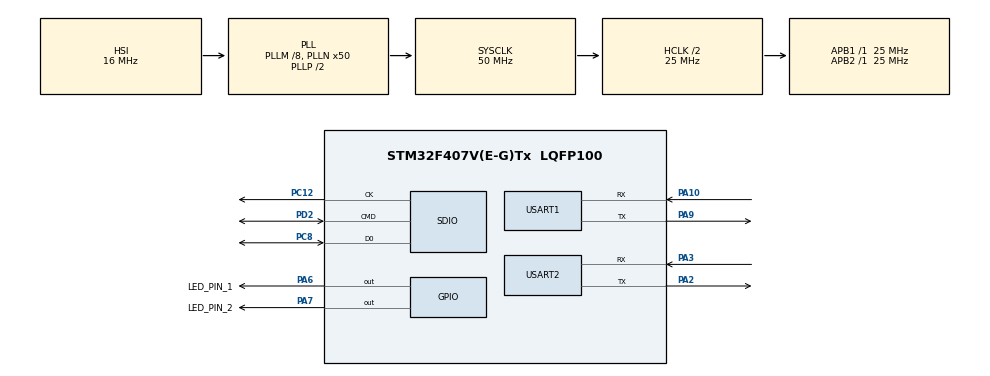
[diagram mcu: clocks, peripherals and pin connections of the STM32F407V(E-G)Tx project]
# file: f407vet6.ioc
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FATFS._MAX_SS=4096
FATFS._USE_LFN=1
Mcu.Family=STM32F4
Mcu.Name=STM32F407V(E-G)Tx
Mcu.Package=LQFP100
NVIC.PriorityGroup=NVIC_PRIORITYGROUP_4
NVIC.SDIO_IRQn=true\:0\:0\:false\:false\:true\:true\:true\:true
NVIC.TIM2_IRQn=true\:0\:0\:false\:false\:true\:true\:true\:true
NVIC.USART2_IRQn=true\:0\:0\:false\:false\:true\:true\:true\:true
PA10.Mode=Asynchronous
PA10.Signal=USART1_RX
PA2.Mode=Asynchronous
PA2.Signal=USART2_TX
PA3.Mode=Asynchronous
PA3.Signal=USART2_RX
PA6.GPIO_Label=LED_PIN_1
PA6.Signal=GPIO_Output
PA7.GPIO_Label=LED_PIN_2
PA7.Signal=GPIO_Output
PA9.Mode=Asynchronous
PA9.Signal=USART1_TX
PC12.Mode=SD_1_bit
PC12.Signal=SDIO_CK
PC8.GPIO_PuPd=GPIO_PULLUP
PC8.Mode=SD_1_bit
PC8.Signal=SDIO_D0
PD2.GPIO_PuPd=GPIO_PULLUP
PD2.Mode=SD_1_bit
PD2.Signal=SDIO_CMD
ProjectManager.HeapSize=0x200
ProjectManager.StackSize=0x400
ProjectManager.TargetToolchain=STM32CubeIDE
RCC.48MHZClocksFreq_Value=25000000
RCC.AHBCLKDivider=RCC_SYSCLK_DIV2
RCC.AHBFreq_Value=25000000
RCC.APB1Freq_Value=25000000
RCC.APB1TimFreq_Value=25000000
RCC.APB2Freq_Value=25000000
RCC.APB2TimFreq_Value=25000000
RCC.CortexFreq_Value=25000000
RCC.HCLKFreq_Value=25000000
RCC.HSE_VALUE=25000000
RCC.HSI_VALUE=16000000
RCC.LSE_VALUE=32768
RCC.PLLM=8
RCC.PLLN=50
RCC.SYSCLKFreq_VALUE=50000000
RCC.SYSCLKSource=RCC_SYSCLKSOURCE_PLLCLK
RCC.VCOOutputFreq_Value=100000000
SDIO.HardwareFlowControl=SDIO_HARDWARE_FLOW_CONTROL_ENABLE
TIM2.Period=24999
TIM2.Prescaler=999
USART1.VirtualMode=VM_ASYNC
USART2.VirtualMode=VM_ASYNC
VP_FATFS_VS_SDIO.Mode=SDIO
VP_TIM2_VS_ClockSourceINT.Mode=Internal
board=custom

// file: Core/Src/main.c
/* USER CODE BEGIN Header */
/**
 ******************************************************************************
 * @file           : main.c
 * @brief          : Main program body
 ******************************************************************************
 * @attention
 *
 * Copyright (c) 2025 STMicroelectronics.
 * All rights reserved.
 *
 * This software is licensed under terms that can be found in the LICENSE file
 * in the root directory of this software component.
 * If no LICENSE file comes with this software, it is provided AS-IS.
 *
 ******************************************************************************
 */
/* USER CODE END Header */
#include "main.h"
#include "fatfs.h"

/* USER CODE BEGIN Includes */
#include "SEGGER_RTT.h"
#include "stdio.h"
#include "ha_hal.h"

/* USER CODE END Includes */

SD_HandleTypeDef hsd;

TIM_HandleTypeDef htim2;

UART_HandleTypeDef huart1;
UART_HandleTypeDef huart2;

/* USER CODE BEGIN PV */
char TxBuffer[250];
int g_sys_count = 0;

/* USER CODE END PV */

void SystemClock_Config(void);
static void MX_GPIO_Init(void);
static void MX_USART1_UART_Init(void);
static void MX_USART2_UART_Init(void);
static void MX_SDIO_SD_Init(void);
static void MX_TIM2_Init(void);
/* USER CODE BEGIN PFP */
static void SDIO_SDCard_Test(void);
void HAL_TIM_PeriodElapsedCallback(TIM_HandleTypeDef* htim);
/* USER CODE END PFP */

/* USER CODE BEGIN 0 */
int _write(int file, char *ptr, int len)
{
  /* USER CODE BEGIN _write */
  for (int i = 0; i < len; i++)
  {
    SEGGER_RTT_Write(0, &ptr[i], 1);
  }
  return len;
  /* USER CODE END _write */
}

/* USER CODE END 0 */

int main(void)
{

  /* USER CODE BEGIN 1 */
  printf("===== STM32F407 GPS Tracker =====\n");

  /* USER CODE END 1 */

  /* MCU Configuration--------------------------------------------------------*/

  /* Reset of all peripherals, Initializes the Flash interface and the Systick. */
  HAL_Init();

  /* Configure the system clock */
  SystemClock_Config();

  /* Initialize all configured peripherals */
  MX_GPIO_Init();
  MX_USART1_UART_Init();
  MX_USART2_UART_Init();
  MX_SDIO_SD_Init();
  MX_FATFS_Init();
  MX_TIM2_Init();
  /* USER CODE BEGIN 2 */
  HAL_TIM_Base_Start_IT(&htim2);
  ha_hal_hardware_delay(5000);
  SDIO_SDCard_Test();

  /* USER CODE END 2 */

  /* Infinite loop */
  while (1)
  {

    /* USER CODE BEGIN 3 */
    ha_hal_gpio_set_level(GPIOA, LED_PIN_1_Pin, GPIO_PIN_SET);
    ha_hal_hardware_delay(1000);
    ha_hal_gpio_set_level(GPIOA, LED_PIN_1_Pin, GPIO_PIN_RESET);
    ha_hal_gpio_set_level(GPIOA, LED_PIN_2_Pin, GPIO_PIN_SET);
    ha_hal_hardware_delay(1000);
    ha_hal_gpio_set_level(GPIOA, LED_PIN_2_Pin, GPIO_PIN_RESET);
  }
  /* USER CODE END 3 */
}

void SystemClock_Config(void)
{
  RCC_OscInitTypeDef RCC_OscInitStruct = {0};
  RCC_ClkInitTypeDef RCC_ClkInitStruct = {0};

  /** Configure the main internal regulator output voltage
  */
  __HAL_RCC_PWR_CLK_ENABLE();
  __HAL_PWR_VOLTAGESCALING_CONFIG(PWR_REGULATOR_VOLTAGE_SCALE1);

  /** Initializes the RCC Oscillators according to the specified parameters
  * in the RCC_OscInitTypeDef structure.
  */
  RCC_OscInitStruct.OscillatorType = RCC_OSCILLATORTYPE_HSI;
  RCC_OscInitStruct.HSIState = RCC_HSI_ON;
  RCC_OscInitStruct.HSICalibrationValue = RCC_HSICALIBRATION_DEFAULT;
  RCC_OscInitStruct.PLL.PLLState = RCC_PLL_ON;
  RCC_OscInitStruct.PLL.PLLSource = RCC_PLLSOURCE_HSI;
  RCC_OscInitStruct.PLL.PLLM = 8;
  RCC_OscInitStruct.PLL.PLLN = 50;
  RCC_OscInitStruct.PLL.PLLP = RCC_PLLP_DIV2;
  RCC_OscInitStruct.PLL.PLLQ = 4;
  if (HAL_RCC_OscConfig(&RCC_OscInitStruct) != HAL_OK)
  {
    Error_Handler();
  }

  /** Initializes the CPU, AHB and APB buses clocks
  */
  RCC_ClkInitStruct.ClockType = RCC_CLOCKTYPE_HCLK|RCC_CLOCKTYPE_SYSCLK
                              |RCC_CLOCKTYPE_PCLK1|RCC_CLOCKTYPE_PCLK2;
  RCC_ClkInitStruct.SYSCLKSource = RCC_SYSCLKSOURCE_PLLCLK;
  RCC_ClkInitStruct.AHBCLKDivider = RCC_SYSCLK_DIV2;
  RCC_ClkInitStruct.APB1CLKDivider = RCC_HCLK_DIV1;
  RCC_ClkInitStruct.APB2CLKDivider = RCC_HCLK_DIV1;

  if (HAL_RCC_ClockConfig(&RCC_ClkInitStruct, FLASH_LATENCY_0) != HAL_OK)
  {
    Error_Handler();
  }
}

static void MX_SDIO_SD_Init(void)
{

  hsd.Instance = SDIO;
  hsd.Init.ClockEdge = SDIO_CLOCK_EDGE_RISING;
  hsd.Init.ClockBypass = SDIO_CLOCK_BYPASS_DISABLE;
  hsd.Init.ClockPowerSave = SDIO_CLOCK_POWER_SAVE_DISABLE;
  hsd.Init.BusWide = SDIO_BUS_WIDE_1B;
  hsd.Init.HardwareFlowControl = SDIO_HARDWARE_FLOW_CONTROL_ENABLE;
  hsd.Init.ClockDiv = 0;

}

static void MX_TIM2_Init(void)
{

  TIM_ClockConfigTypeDef sClockSourceConfig = {0};
  TIM_MasterConfigTypeDef sMasterConfig = {0};

  htim2.Instance = TIM2;
  htim2.Init.Prescaler = 999;
  htim2.Init.CounterMode = TIM_COUNTERMODE_UP;
  htim2.Init.Period = 24999;
  htim2.Init.ClockDivision = TIM_CLOCKDIVISION_DIV1;
  htim2.Init.AutoReloadPreload = TIM_AUTORELOAD_PRELOAD_DISABLE;
  if (HAL_TIM_Base_Init(&htim2) != HAL_OK)
  {
    Error_Handler();
  }
  sClockSourceConfig.ClockSource = TIM_CLOCKSOURCE_INTERNAL;
  if (HAL_TIM_ConfigClockSource(&htim2, &sClockSourceConfig) != HAL_OK)
  {
    Error_Handler();
  }
  sMasterConfig.MasterOutputTrigger = TIM_TRGO_RESET;
  sMasterConfig.MasterSlaveMode = TIM_MASTERSLAVEMODE_DISABLE;
  if (HAL_TIMEx_MasterConfigSynchronization(&htim2, &sMasterConfig) != HAL_OK)
  {
    Error_Handler();
  }

}

static void MX_USART1_UART_Init(void)
{

  huart1.Instance = USART1;
  huart1.Init.BaudRate = 115200;
  huart1.Init.WordLength = UART_WORDLENGTH_8B;
  huart1.Init.StopBits = UART_STOPBITS_1;
  huart1.Init.Parity = UART_PARITY_NONE;
  huart1.Init.Mode = UART_MODE_TX_RX;
  huart1.Init.HwFlowCtl = UART_HWCONTROL_NONE;
  huart1.Init.OverSampling = UART_OVERSAMPLING_16;
  if (HAL_UART_Init(&huart1) != HAL_OK)
  {
    Error_Handler();
  }

}

static void MX_USART2_UART_Init(void)
{

  huart2.Instance = USART2;
  huart2.Init.BaudRate = 115200;
  huart2.Init.WordLength = UART_WORDLENGTH_8B;
  huart2.Init.StopBits = UART_STOPBITS_1;
  huart2.Init.Parity = UART_PARITY_NONE;
  huart2.Init.Mode = UART_MODE_TX_RX;
  huart2.Init.HwFlowCtl = UART_HWCONTROL_NONE;
  huart2.Init.OverSampling = UART_OVERSAMPLING_16;
  if (HAL_UART_Init(&huart2) != HAL_OK)
  {
    Error_Handler();
  }

}

static void MX_GPIO_Init(void)
{
  GPIO_InitTypeDef GPIO_InitStruct = {0};

  /* GPIO Ports Clock Enable */
  __HAL_RCC_GPIOA_CLK_ENABLE();
  __HAL_RCC_GPIOC_CLK_ENABLE();
  __HAL_RCC_GPIOD_CLK_ENABLE();

  /*Configure GPIO pin Output Level */
  HAL_GPIO_WritePin(GPIOA, LED_PIN_1_Pin|LED_PIN_2_Pin, GPIO_PIN_RESET);

  /*Configure GPIO pins : LED_PIN_1_Pin LED_PIN_2_Pin */
  GPIO_InitStruct.Pin = LED_PIN_1_Pin|LED_PIN_2_Pin;
  GPIO_InitStruct.Mode = GPIO_MODE_OUTPUT_PP;
  GPIO_InitStruct.Pull = GPIO_NOPULL;
  GPIO_InitStruct.Speed = GPIO_SPEED_FREQ_LOW;
  HAL_GPIO_Init(GPIOA, &GPIO_InitStruct);

}

/* USER CODE BEGIN 4 */
static void SDIO_SDCard_Test(void)
{
  FATFS FatFs;
  FIL Fil;
  FRESULT FR_Status;
  FATFS *FS_Ptr;
  UINT RWC, WWC; // Read/Write Word Counter
  DWORD FreeClusters;
  uint32_t TotalSize, FreeSpace;
  char RW_Buffer[200];

  // The entire test is wrapped in a do-while(0) loop to allow for easy breaking on error.
  do
  {
    //------------------[ 1. Mount The SD Card ]--------------------
    // FIX 1: Use the correct mount option '1' for immediate mounting.
    FR_Status = f_mount(&FatFs, SDPath, 1);
    if (FR_Status != FR_OK)
    {
      // FIX 2: Use printf directly for efficiency.
      printf("Error! While Mounting SD Card, Error Code: (%i)\r\n", FR_Status);
      break;
    }
    printf("SD Card Mounted Successfully!\r\n\n");

    //------------------[ 2. Get & Print The SD Card Size & Free Space ]--------------------
    // FIX 3: Add error checking for f_getfree.
    FR_Status = f_getfree("", &FreeClusters, &FS_Ptr);
    if (FR_Status != FR_OK)
    {
      printf("Error! While getting free space, Error Code: (%i)\r\n", FR_Status);
      break;
    }

    // FIX 4: Correct size calculation for Bytes. Assumes sector size is 512 bytes (FF_MAX_SS).
    TotalSize = (FS_Ptr->n_fatent - 2) * FS_Ptr->csize * 512;
    FreeSpace = FreeClusters * FS_Ptr->csize * 512;

    printf("Total SD Card Size: %lu Bytes (%.2f MB)\r\n", TotalSize, TotalSize / (1024.0 * 1024.0));
    printf("Free SD Card Space: %lu Bytes (%.2f MB)\r\n\n", FreeSpace, FreeSpace / (1024.0 * 1024.0));

    //------------------[ 3. Open A Text File For Write & Write Data ]--------------------
    FR_Status = f_open(&Fil, "MyTextFile.txt", FA_WRITE | FA_READ | FA_CREATE_ALWAYS);
    if (FR_Status != FR_OK)
    {
      printf("Error! While Creating/Opening a new file, Error Code: (%i)\r\n", FR_Status);
      break;
    }
    printf("File 'MyTextFile.txt' created & opened. Writing data...\r\n");

    // Write data using f_puts() and f_write()
    f_puts("Hello from STM32 using f_puts()!\n", &Fil);
    strcpy(RW_Buffer, "Hello from STM32 using f_write()!\r\n");
    f_write(&Fil, RW_Buffer, strlen(RW_Buffer), &WWC);
    printf("Data written successfully.\r\n\n");

    // Close the file to save changes
    f_close(&Fil);

    //------------------[ 4. Open The File For Read & Read Its Data ]--------------------
    FR_Status = f_open(&Fil, "MyTextFile.txt", FA_READ);
    if (FR_Status != FR_OK)
    {
      printf("Error! While opening 'MyTextFile.txt' for reading, Error Code: (%i)\r\n", FR_Status);
      break;
    }
    printf("Reading data from 'MyTextFile.txt':\r\n");

    // Read the entire file's data into the buffer
    // Clear buffer before reading
    memset(RW_Buffer, 0, sizeof(RW_Buffer));
    f_read(&Fil, RW_Buffer, f_size(&Fil), &RWC);

    // Ensure the buffer is null-terminated before printing, even if f_read fills it
    if (RWC > 0 && RWC < sizeof(RW_Buffer))
    {
      RW_Buffer[RWC] = '\0';
    }

    printf("-------------------- FILE START --------------------\r\n");
    printf("%s", RW_Buffer);
    printf("--------------------- FILE END ---------------------\r\n\n");

    f_close(&Fil);

    //------------------[ 5. Update The Existing File ]--------------------
    printf("Updating 'MyTextFile.txt'...\r\n");

    // FIX 5: Check f_open result before proceeding.
    FR_Status = f_open(&Fil, "MyTextFile.txt", FA_OPEN_APPEND | FA_WRITE);
    if (FR_Status != FR_OK)
    {
      printf("Error! While opening file for update, Error Code: (%i)\r\n", FR_Status);
      break;
    }

    // Write a new line of text to the end of the file
    FR_Status = f_puts("This new line was appended to the file.\r\n", &Fil);
    if (FR_Status < 0) // f_puts returns a negative number on error
    {
      printf("Error! While writing appended data.\r\n");
    }

    f_close(&Fil);
    printf("File updated.\r\n\n");

    // (Read back the updated file)
    FR_Status = f_open(&Fil, "MyTextFile.txt", FA_READ);
    memset(RW_Buffer, 0, sizeof(RW_Buffer));
    f_read(&Fil, RW_Buffer, f_size(&Fil), &RWC);

    printf("Data read from 'MyTextFile.txt' after update:\r\n");
    printf("-------------------- FILE START --------------------\r\n");
    printf("%s", RW_Buffer);
    printf("--------------------- FILE END ---------------------\r\n\n");

    f_close(&Fil);

    //------------------[ 6. Delete The Text File ]--------------------
    // FIX 6: Uncomment and fix the unlink section.
    printf("Deleting 'MyTextFile.txt'...\r\n");
    FR_Status = f_unlink("MyTextFile.txt");
    if (FR_Status != FR_OK)
    {
      printf("Error! While deleting the file, Error Code: (%i)\r\n", FR_Status);
    }
    else
    {
      printf("File deleted successfully.\r\n");
    }

  } while (0);

  //------------------[ 7. Unmount The SD Card ]--------------------
  FR_Status = f_mount(NULL, SDPath, 0);
  if (FR_Status != FR_OK)
  {
    printf("\r\nError! While Un-mounting SD Card, Error Code: (%i)\r\n", FR_Status);
  }
  else
  {
    printf("\r\nTest complete. SD Card Un-mounted Successfully!\r\n");
  }
}

void HAL_TIM_PeriodElapsedCallback(TIM_HandleTypeDef* htim)
{
    g_sys_count++;
    printf("System counter: %d\n", g_sys_count);
}

/* USER CODE END 4 */

void Error_Handler(void)
{
  __disable_irq();
  while (1)
  {
  }
}
